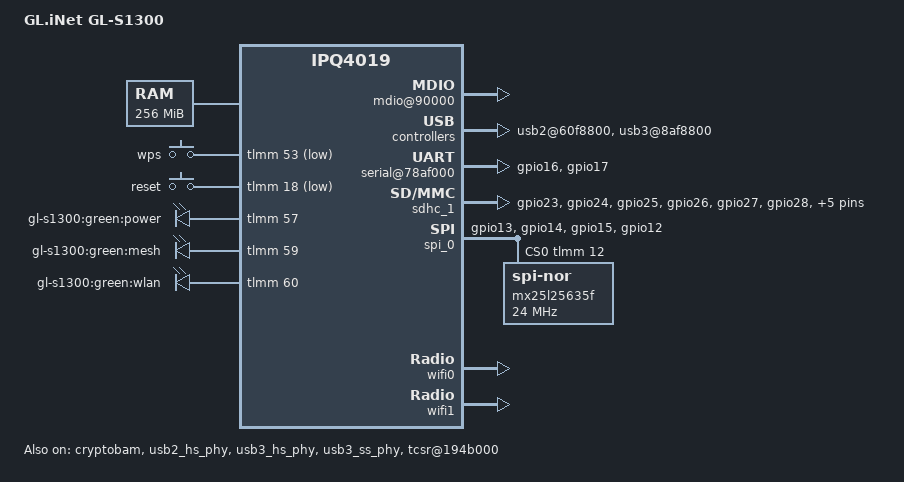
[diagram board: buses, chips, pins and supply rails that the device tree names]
/* Copyright (c) 2015, The Linux Foundation. All rights reserved.
 *
 * Permission to use, copy, modify, and/or distribute this software for any
 * purpose with or without fee is hereby granted, provided that the above
 * copyright notice and this permission notice appear in all copies.
 *
 * THE SOFTWARE IS PROVIDED "AS IS" AND THE AUTHOR DISCLAIMS ALL WARRANTIES
 * WITH REGARD TO THIS SOFTWARE INCLUDING ALL IMPLIED WARRANTIES OF
 * MERCHANTABILITY AND FITNESS. IN NO EVENT SHALL THE AUTHOR BE LIABLE FOR
 * ANY SPECIAL, DIRECT, INDIRECT, OR CONSEQUENTIAL DAMAGES OR ANY DAMAGES
 * WHATSOEVER RESULTING FROM LOSS OF USE, DATA OR PROFITS, WHETHER IN AN
 * ACTION OF CONTRACT, NEGLIGENCE OR OTHER TORTIOUS ACTION, ARISING OUT OF
 * OR IN CONNECTION WITH THE USE OR PERFORMANCE OF THIS SOFTWARE.
 *
 */

#include "qcom-ipq4019.dtsi"
#include <dt-bindings/gpio/gpio.h>
#include <dt-bindings/input/input.h>
#include <dt-bindings/soc/qcom,tcsr.h>

/ {
	model = "GL.iNet GL-S1300";
	compatible = "glinet,gl-s1300", "qcom,ipq4019";

	aliases {
		led-boot = &power;
		led-failsafe = &power;
		led-running = &power;
		led-upgrade = &power;
		sdhc1 = &sdhc_1;
	};

	memory {
		device_type = "memory";
		reg = <0x80000000 0x10000000>;
	};

	soc {
		mdio@90000 {
			status = "okay";
		};

		ess-psgmii@98000 {
			status = "okay";
		};

		tcsr@1949000 {
			compatible = "qcom,tcsr";
			reg = <0x1949000 0x100>;
			qcom,wifi_glb_cfg = <TCSR_WIFI_GLB_CFG>;
		};

		tcsr@194b000 {
			/* select hostmode */
			compatible = "qcom,tcsr";
			reg = <0x194b000 0x100>;
			qcom,usb-hsphy-mode-select = <TCSR_USB_HSPHY_HOST_MODE>;
			status = "okay";
		};

		ess_tcsr@1953000 {
			compatible = "qcom,tcsr";
			reg = <0x1953000 0x1000>;
			qcom,ess-interface-select = <TCSR_ESS_PSGMII>;
		};

		tcsr@1957000 {
			compatible = "qcom,tcsr";
			reg = <0x1957000 0x100>;
			qcom,wifi_noc_memtype_m0_m2 = <TCSR_WIFI_NOC_MEMTYPE_M0_M2>;
		};

		usb2@60f8800 {
			status = "okay";
		};

		serial@78af000 {
			pinctrl-0 = <&serial_pins>;
			pinctrl-names = "default";
			status = "okay";
		};
		usb3@8af8800 {
			status = "okay";
		};

		crypto@8e3a000 {
			status = "okay";
		};

		watchdog@b017000 {
			status = "okay";
		};

		ess-switch@c000000 {
			status = "okay";
			switch_lan_bmp = <0x18>;
			switch_wan_bmp = <0x20>;
		};

		edma@c080000 {
			status = "okay";
		};

		sdhc_1: sdhci@7824000 {
			compatible = "qcom,sdhci-msm";
			reg = <0x7824900 0x11c>, <0x7824000 0x800>;
			reg-names = "hc_mem", "core_mem";
			interrupts = <0 123 0>, <0 138 0>;
			interrupt-names = "hc_irq", "pwr_irq";
			qcom,bus-width = <8>;
			qcom,max_clk = <192000000>;
			clocks = <&gcc 47>,
				 <&gcc 46>;
			clock-names = "core_clk", "iface_clk";
			qcom,large-address-bus;
			qcom,disable-aggressive-pm;
			status = "disabled";
		};

		sdhc_1: sdhci@7824000{
			status = "ok";
			qcom,bus-speed-mode = "HS200_1p8v", "DDR_1p8v";
			qcom,clk-rates = <400000 25000000 50000000 100000000 \
					 192000000 384000000>;
			pinctrl-0 = <&sd_0_pins>;
			pinctrl-names = "active", "sleep";
			cd-gpios = <&tlmm 22 0x1>;
			sd-ldo-gpios = <&tlmm 33 0x1>;
		};
	};

	gpio-keys {
		compatible = "gpio-keys";

		wps {
			label = "wps";
			gpios = <&tlmm 53 GPIO_ACTIVE_LOW>;
			linux,code = <KEY_WPS_BUTTON>;
		};

		reset {
			label = "reset";
			gpios = <&tlmm 18 GPIO_ACTIVE_LOW>;
			linux,code = <KEY_RESTART>;
		};
	};

	gpio-leds {
		compatible = "gpio-leds";

		power: power {
			label = "gl-s1300:green:power";
			gpios = <&tlmm 57 GPIO_ACTIVE_HIGH>;
			default-state = "on";
		};

		mesh {
			label = "gl-s1300:green:mesh";
			gpios = <&tlmm 59 GPIO_ACTIVE_HIGH>;
		};

		wlan {
			label = "gl-s1300:green:wlan";
			gpios = <&tlmm 60 GPIO_ACTIVE_HIGH>;
		};
	};
};

&blsp_dma {
	status = "okay";
};

&cryptobam {
	status = "okay";
};

&spi_0 {
	pinctrl-0 = <&spi_0_pins>;
	pinctrl-names = "default";
	status = "okay";
	cs-gpios = <&tlmm 12 GPIO_ACTIVE_HIGH>;

	mx25l25635f@0 {
		compatible = "jedec,spi-nor";
		#address-cells = <1>;
		#size-cells = <1>;
		reg = <0>;
		spi-max-frequency = <24000000>;


		SBL1@0 {
			label = "SBL1";
			reg = <0x0 0x40000>;
			read-only;
		};

		MIBIB@40000 {
			label = "MIBIB";
			reg = <0x40000 0x20000>;
			read-only;
		};

		QSEE@60000 {
			label = "QSEE";
			reg = <0x60000 0x60000>;
			read-only;
		};

		CDT@c0000 {
			label = "CDT";
			reg = <0xc0000 0x10000>;
			read-only;
		};

		DDRPARAMS@d0000 {
			label = "DDRPARAMS";
			reg = <0xd0000 0x10000>;
			read-only;
		};

		APPSBLENV@e0000 {
			label = "APPSBLENV";
			reg = <0xe0000 0x10000>;
			read-only;
		};

		APPSBL@f0000 {
			label = "APPSBL";
			reg = <0xf0000 0x80000>;
			read-only;
		};

		ART@170000 {
			label = "ART";
			reg = <0x170000 0x10000>;
			read-only;
		};

		firmware@180000 {
			label = "firmware";
			reg = <0x180000 0xe80000>;
		};
	};
};

&tlmm {
	serial_pins: serial_pinmux {
		mux {
			pins = "gpio16", "gpio17";
			function = "blsp_uart0";
			bias-disable;
		};
	};

	spi_0_pins: spi_0_pinmux {
		pinmux {
			function = "blsp_spi0";
			pins = "gpio13", "gpio14", "gpio15";
		};
		pinmux_cs {
			function = "gpio";
			pins = "gpio12";
		};
		pinconf {
			pins = "gpio13", "gpio14", "gpio15";
			drive-strength = <12>;
			bias-disable;
		};
		pinconf_cs {
			pins = "gpio12";
			drive-strength = <2>;
			bias-disable;
			output-high;
		};
	};
	sd_0_pins: sd_0_pinmux {
		sd0 {
			pins = "gpio23";
			function = "sdio";
			pull-res = <2>;
			drive-type = <1>;
			vm-enable;
		};
		sd1 {
			pins = "gpio24";
			function = "sdio";
			pull-res = <2>;
			drive-type = <1>;
			vm-enable;
		};
		sd2 {
			pins = "gpio25";
			function = "sdio";
			pull-res = <2>;
			drive-type = <1>;
			vm-enable;
		};
		sd3 {
			pins = "gpio26";
			function = "sdio";
			pull-res = <2>;
			drive-type = <1>;
			vm-enable;
		};
		sdclk {
			pins = "gpio27";
			function = "sdio";
			pull-res = <2>;
			drive-type = <7>;
			vm-enable;
		};
		sdcmd {
			pins = "gpio28";
			function = "sdio";
			pull-res = <2>;
			drive-type = <1>;
			vm-enable;
		};
		sd4 {
			pins = "gpio29";
			function = "sdio";
			pull-res = <2>;
			drive-type = <1>;
			vm-enable;
		};
		sd5 {
			pins = "gpio30";
			function = "sdio";
			pull-res = <2>;
			drive-type = <1>;
			vm-enable;
		};
		sd6 {
			pins = "gpio31";
			function = "sdio";
			pull-res = <2>;
			drive-type = <1>;
			vm-enable;
		};
		sd7 {
			pins = "gpio32";
			function = "sdio";
			pull-res = <2>;
			drive-type = <1>;
			vm-enable;
		};
	};
};

&usb2_hs_phy {
	status = "okay";
};

&usb3_hs_phy {
	status = "okay";
};

&usb3_ss_phy {
	status = "okay";
};

&wifi0 {
	status = "okay";
	qcom,ath10k-calibration-variant = "GL-S1300";
};

&wifi1 {
	status = "okay";
	qcom,ath10k-calibration-variant = "GL-S1300";
};
